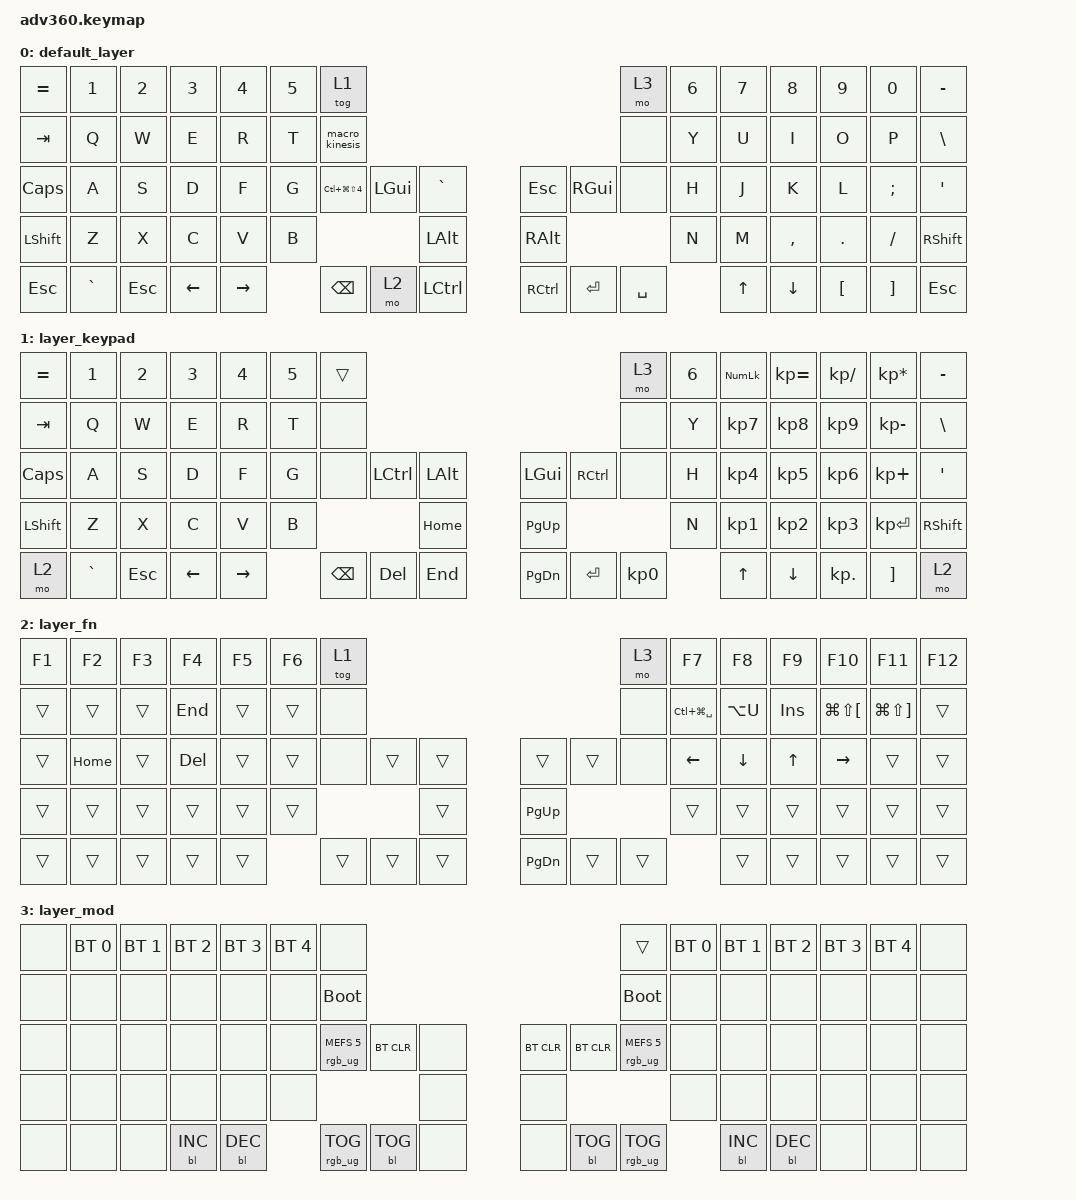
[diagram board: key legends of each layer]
/*
 * Copyright (c) 2020 The ZMK Contributors
 *
 * SPDX-License-Identifier: MIT
 */
/* THIS FILE WAS GENERATED!
 *
 * This file was generated automatically. You may or may not want to
 * edit it directly.
 */

#include <dt-bindings/zmk/stp.h>
#include <behaviors.dtsi>
#include <dt-bindings/zmk/backlight.h>
#include <dt-bindings/zmk/bt.h>
#include <dt-bindings/zmk/keys.h>
#include <dt-bindings/zmk/rgb.h>

/ {
    behaviors {
        #include "macros.dtsi"
    #include "version.dtsi"

        hm: homerow_mods {
            compatible = "zmk,behavior-hold-tap";
            label = "HOMEROW_MODS";
            #binding-cells = <2>;
            tapping-term-ms = <200>;
            quick_tap_ms = <175>;
            flavor = "tap-preferred";
            bindings = <&kp>, <&kp>;
        };

        extra1 {
            display-name = "Red";
            status = "reserved";
        };

        extra2 {
            display-name = "Purple";
            status = "reserved";
        };

        extra3 {
            display-name = "Cyan";
            status = "reserved";
        };

        extra4 {
            display-name = "Yellow";
            status = "reserved";
        };
    };

    keymap {
        compatible = "zmk,keymap";

        default_layer {
            bindings = <
&kp EQUAL  &kp N1     &kp N2   &kp N3    &kp N4     &kp N5  &tog 1                                                                                  &mo 3      &kp N6  &kp N7  &kp N8     &kp N9    &kp N0    &kp MINUS
&kp TAB    &kp Q      &kp W    &kp E     &kp R      &kp T   &macro_kinesis                                                                          &none      &kp Y   &kp U   &kp I      &kp O     &kp P     &kp BSLH
&kp CAPS   &kp A      &kp S    &kp D     &kp F      &kp G   &kp LC(LG(LS(NUMBER_4)))  &kp LGUI  &kp GRAVE             &kp ESCAPE         &kp RGUI   &none      &kp H   &kp J   &kp K      &kp L     &kp SEMI  &kp SQT
&kp LSHFT  &kp Z      &kp X    &kp C     &kp V      &kp B                                       &kp LEFT_ALT          &kp RIGHT_ALT                            &kp N   &kp M   &kp COMMA  &kp DOT   &kp FSLH  &kp RSHFT
&kp ESC    &kp GRAVE  &kp ESC  &kp LEFT  &kp RIGHT          &kp BSPC                  &mo 2     &kp LEFT_CONTROL      &kp RIGHT_CONTROL  &kp ENTER  &kp SPACE          &kp UP  &kp DOWN   &kp LBKT  &kp RBKT  &kp ESC
            >;
        };

        layer_keypad {
            bindings = <
&kp EQUAL  &kp N1     &kp N2   &kp N3    &kp N4     &kp N5  &trans                                                   &mo 3      &kp N6  &kp KP_NUM  &kp KP_EQUAL  &kp KP_DIVIDE  &kp KP_MULTIPLY  &kp MINUS
&kp TAB    &kp Q      &kp W    &kp E     &kp R      &kp T   &none                                                    &none      &kp Y   &kp KP_N7   &kp KP_N8     &kp KP_N9      &kp KP_MINUS     &kp BSLH
&kp CAPS   &kp A      &kp S    &kp D     &kp F      &kp G   &none     &kp LCTRL  &kp LALT      &kp LGUI   &kp RCTRL  &none      &kp H   &kp KP_N4   &kp KP_N5     &kp KP_N6      &kp KP_PLUS      &kp SQT
&kp LSHFT  &kp Z      &kp X    &kp C     &kp V      &kp B                        &kp HOME      &kp PG_UP                        &kp N   &kp KP_N1   &kp KP_N2     &kp KP_N3      &kp KP_ENTER     &kp RSHFT
&mo 2      &kp GRAVE  &kp ESC  &kp LEFT  &kp RIGHT          &kp BSPC  &kp DEL    &kp END       &kp PG_DN  &kp ENTER  &kp KP_N0          &kp UP      &kp DOWN      &kp KP_DOT     &kp RBKT         &mo 2
            >;
        };

        layer_fn {
            bindings = <
&kp F1  &kp F2    &kp F3  &kp F4   &kp F5  &kp F6  &tog 1                                             &mo 3   &kp F7             &kp F8     &kp F9      &kp F10                   &kp F11                    &kp F12
&trans  &trans    &trans  &kp END  &trans  &trans  &none                                              &none   &kp LC(LG(SPACE))  &kp LA(U)  &kp INSERT  &kp LG(LS(LEFT_BRACKET))  &kp LG(LS(RIGHT_BRACKET))  &trans
&trans  &kp HOME  &trans  &kp DEL  &trans  &trans  &none   &trans  &trans      &trans         &trans  &none   &kp LEFT           &kp DOWN   &kp UP      &kp RIGHT                 &trans                     &trans
&trans  &trans    &trans  &trans   &trans  &trans                  &trans      &kp PAGE_UP                    &trans             &trans     &trans      &trans                    &trans                     &trans
&trans  &trans    &trans  &trans   &trans          &trans  &trans  &trans      &kp PAGE_DOWN  &trans  &trans                     &trans     &trans      &trans                    &trans                     &trans
            >;
        };

        layer_mod {
            bindings = <
&none  &bt BT_SEL 0  &bt BT_SEL 1  &bt BT_SEL 2  &bt BT_SEL 3  &bt BT_SEL 4  &none                                                                  &trans                  &bt BT_SEL 0  &bt BT_SEL 1  &bt BT_SEL 2  &bt BT_SEL 3  &bt BT_SEL 4  &none
&none  &none         &none         &none         &none         &none         &bootloader                                                            &bootloader             &none         &none         &none         &none         &none         &none
&none  &none         &none         &none         &none         &none         &rgb_ug RGB_MEFS_CMD 5  &bt BT_CLR  &none      &bt BT_CLR  &bt BT_CLR  &rgb_ug RGB_MEFS_CMD 5  &none         &none         &none         &none         &none         &none
&none  &none         &none         &none         &none         &none                                             &none      &none                                           &none         &none         &none         &none         &none         &none
&none  &none         &none         &bl BL_INC    &bl BL_DEC                  &rgb_ug RGB_TOG         &bl BL_TOG  &none      &none       &bl BL_TOG  &rgb_ug RGB_TOG                       &bl BL_INC    &bl BL_DEC    &none         &none         &none
            >;
        };
    };
};
